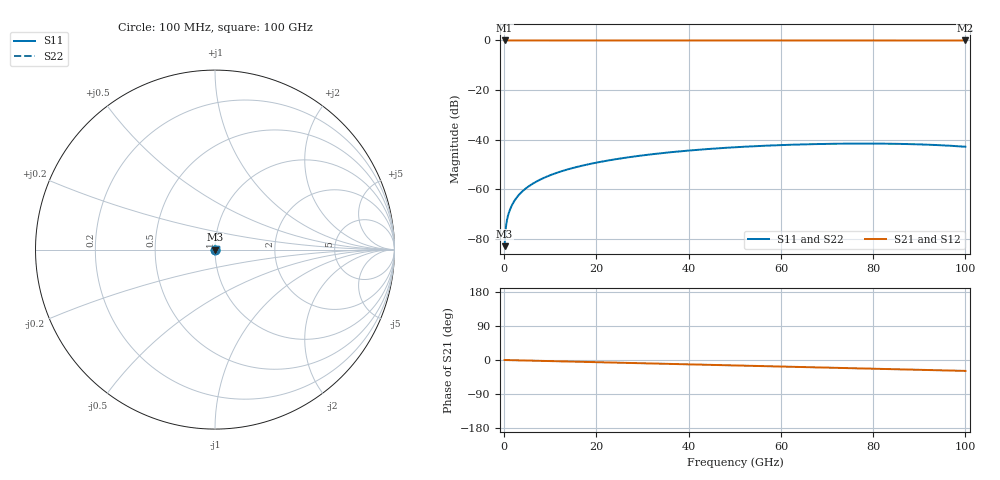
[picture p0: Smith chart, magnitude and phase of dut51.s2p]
! Touchstone file exported from HFSS 2026.1.0
!  File:  C:/ffzhzh/LocalFiles/Ansys_Project_Files/temp_train_TSV_51_1783504936_44152.aedt
!  Generated:  06:03:25 PM Jul  8, 2026
!  Design:  TSV
!  Project:  temp_train_TSV_51_1783504936_44152
! Variables:
!  h_bsmrdl = 2um
!  h_ox = 20um
!  h_rdl = 5um
!  h_sub = 50.95um
!  h_tmrdl = 5um
!  h_tsv = 50.95um
!  h_via = 3um
!  l_bsmrdl = 300um
!  l_sub = 428.8um
!  l_tmrdl = 200um
!  m_sub = 200um
!  pitch = 58.53um
!  r_tsv = 14.4um
!  s_tmrdl = 10um
!  w_bsmrdl = 18um
!  w_sub = 500um
!  w_tmrdl = 12um
!  x_tsv_center1 = 206um
!  x_tsv_center2 = 524um
!  x_tsv_center3 = 736um
!  x_tsv_center4 = 1054um
!  x_tsv_center5 = 1266um
!  x_tsv_center6 = 1584um
# GHz S MA R 50.000000
! Terminal data exported
! Port[1] = TSV1_1_T1
! Port[2] = TSV1_1_T2
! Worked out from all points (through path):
!   1000 points, 100 MHz to 100 GHz, reference 50 ohm
!   highest |S21| = 0.00 dB at 100 MHz (marker M1); lowest = 0.0 dB at 100 GHz (marker M2)
!   group delay of S21, straight-line fit = 798 fs
!   lowest |S11| = -83.0 dB at 100 MHz (marker M3), VSWR 1.00, Z = 50 + j0.00436 ohm
!   |S11| at or under -10 dB: start of sweep to end of sweep
!   |S22| runs from -83.0 to -41.6 dB; largest |S21 - S12| = 2.7e-15
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0.1  7.044e-05 38.2  0.9999 -0.0  0.9999 -0.0  7.044e-05 38.2
! Gamma 0 0 0 0
! Port Impedance 50 0 50 0
0.4  0.0001765 58.6  0.9999 -0.1  0.9999 -0.1  0.0001765 58.6
0.9  0.0003059 61.1  0.9999 -0.3  0.9999 -0.3  0.0003059 61.1
1.2  0.0003707 62.7  0.9998 -0.4  0.9998 -0.4  0.0003707 62.7
1.5  0.0004333 64.1  0.9998 -0.4  0.9998 -0.4  0.0004333 64.1
2  0.0005347 65.8  0.9998 -0.6  0.9998 -0.6  0.0005347 65.8
2.6  0.000652 67.2  0.9998 -0.8  0.9998 -0.8  0.000652 67.2
3.3  0.0007829 68.3  0.9997 -1.0  0.9997 -1.0  0.0007829 68.3
4.2  0.0009438 69.4  0.9997 -1.2  0.9997 -1.2  0.0009438 69.4
5.2  0.001117 70.3  0.9997 -1.5  0.9997 -1.5  0.001117 70.3
6.4  0.001319 71.1  0.9996 -1.8  0.9996 -1.8  0.001319 71.1
9.2  0.001778 72.2  0.9995 -2.6  0.9995 -2.6  0.001778 72.2
12.6  0.002317 72.6  0.9994 -3.6  0.9994 -3.6  0.002318 72.5
16.8  0.002952 72.6  0.9994 -4.8  0.9994 -4.8  0.002952 72.6
24.3  0.004023 72.1  0.9992 -7.0  0.9992 -7.0  0.004024 72.1
33.4  0.005217 70.7  0.9991 -9.6  0.9991 -9.6  0.005218 70.7
41.4  0.006144 69.0  0.999 -11.8  0.999 -11.8  0.006145 69.0
50.1  0.006994 66.9  0.9989 -14.3  0.9989 -14.3  0.006995 66.8
66.7  0.008063 62.4  0.9986 -19.1  0.9986 -19.1  0.008065 62.3
83.4  0.008236 57.3  0.9984 -23.9  0.9984 -23.9  0.008239 57.1
92.1  0.007861 54.3  0.9983 -26.5  0.9983 -26.5  0.007865 54.1
100  0.00715 51.4  0.9981 -28.8  0.9981 -28.8  0.007155 51.2
